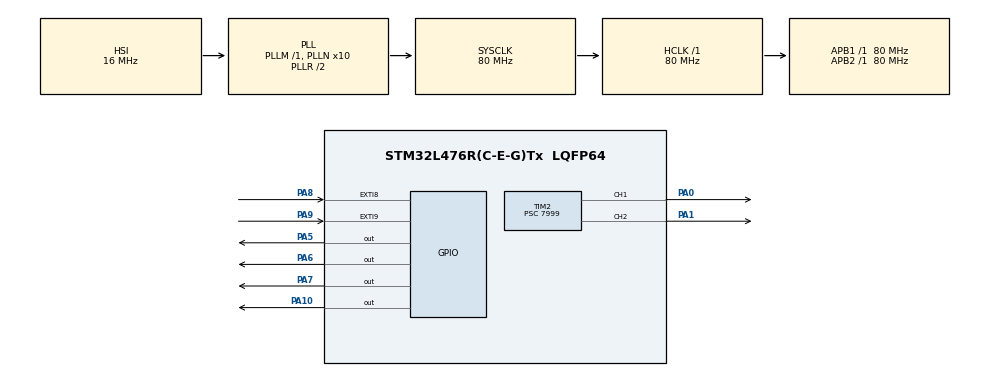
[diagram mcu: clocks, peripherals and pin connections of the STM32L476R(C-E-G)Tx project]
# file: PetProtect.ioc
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Mcu.Family=STM32L4
Mcu.Name=STM32L476R(C-E-G)Tx
Mcu.Package=LQFP64
NVIC.EXTI9_5_IRQn=true\:2\:0\:true\:false\:true\:true\:true\:true
NVIC.PriorityGroup=NVIC_PRIORITYGROUP_4
NVIC.TIM2_IRQn=true\:0\:0\:false\:false\:true\:true\:true\:true
PA0.Signal=S_TIM2_CH1
PA1.Signal=S_TIM2_CH2
PA10.Signal=GPIO_Output
PA13\ (JTMS-SWDIO).GPIO_Label=TMS
PA13\ (JTMS-SWDIO).Mode=Serial_Wire
PA13\ (JTMS-SWDIO).Signal=SYS_JTMS-SWDIO
PA14\ (JTCK-SWCLK).GPIO_Label=TCK
PA14\ (JTCK-SWCLK).Mode=Serial_Wire
PA14\ (JTCK-SWCLK).Signal=SYS_JTCK-SWCLK
PA5.Signal=GPIO_Output
PA6.Signal=GPIO_Output
PA7.Signal=GPIO_Output
PA8.GPIO_ModeDefaultEXTI=GPIO_MODE_IT_RISING_FALLING
PA8.Signal=GPXTI8
PA9.GPIO_ModeDefaultEXTI=GPIO_MODE_IT_FALLING
PA9.GPIO_PuPd=GPIO_PULLUP
PA9.Signal=GPXTI9
PB3\ (JTDO-TRACESWO).GPIO_Label=SWO
PB3\ (JTDO-TRACESWO).Signal=SYS_JTDO-SWO
PC14-OSC32_IN\ (PC14).Mode=LSE-External-Oscillator
PC14-OSC32_IN\ (PC14).Signal=RCC_OSC32_IN
PC15-OSC32_OUT\ (PC15).Mode=LSE-External-Oscillator
PC15-OSC32_OUT\ (PC15).Signal=RCC_OSC32_OUT
PH0-OSC_IN\ (PH0).Signal=RCC_OSC_IN
PH1-OSC_OUT\ (PH1).Signal=RCC_OSC_OUT
ProjectManager.HeapSize=0x200
ProjectManager.StackSize=0x400
ProjectManager.TargetToolchain=STM32CubeIDE
RCC.ADCFreq_Value=64000000
RCC.AHBFreq_Value=80000000
RCC.APB1Freq_Value=80000000
RCC.APB1TimFreq_Value=80000000
RCC.APB2Freq_Value=80000000
RCC.APB2TimFreq_Value=80000000
RCC.CortexFreq_Value=80000000
RCC.HCLKFreq_Value=80000000
RCC.HSE_VALUE=8000000
RCC.HSI_VALUE=16000000
RCC.MSI_VALUE=4000000
RCC.PLLN=10
RCC.PLLSourceVirtual=RCC_PLLSOURCE_HSI
RCC.PREFETCH_ENABLE=1
RCC.SYSCLKFreq_VALUE=80000000
RCC.SYSCLKSource=RCC_SYSCLKSOURCE_PLLCLK
RCC.USBFreq_Value=64000000
RCC.VCOOutputFreq_Value=160000000
SH.S_TIM2_CH1.0=TIM2_CH1,PWM Generation1 CH1
SH.S_TIM2_CH2.0=TIM2_CH2,PWM Generation2 CH2
TIM2.Channel-PWM\ Generation1\ CH1=TIM_CHANNEL_1
TIM2.Channel-PWM\ Generation2\ CH2=TIM_CHANNEL_2
TIM2.Period=199
TIM2.Prescaler=7999
VP_TIM2_VS_ClockSourceINT.Mode=Internal
board=NUCLEO-L476RG

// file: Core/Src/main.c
/* USER CODE BEGIN Header */
/**
  ******************************************************************************
  * @file           : main.c
  * @brief          : Main program body
  ******************************************************************************
  * @attention
  *
  * Copyright (c) 2024 STMicroelectronics.
  * All rights reserved.
  *
  * This software is licensed under terms that can be found in the LICENSE file
  * in the root directory of this software component.
  * If no LICENSE file comes with this software, it is provided AS-IS.
  *
  ******************************************************************************
  */
/* USER CODE END Header */
#include "main.h"

/* USER CODE BEGIN Includes */
#include "stdlib.h"
/* USER CODE END Includes */

/* USER CODE BEGIN PD */
#define SERVO_MIN 10
#define SERVO_MAX 20
#define SERVO_CENTER 15
#define PET_MODE 0
#define PROTECT_MODE 1

/* USER CODE END PD */

TIM_HandleTypeDef htim2;

/* USER CODE BEGIN PV */
GPIO_PinState pirState1;
volatile uint8_t system_mode = PET_MODE;
/* USER CODE END PV */

void SystemClock_Config(void);
static void MX_GPIO_Init(void);
static void MX_TIM2_Init(void);
/* USER CODE BEGIN PFP */
void ControlLaser(int state);
void ControlFlashlight(int state);
void SwitchMode(void);
void ControlBuzzer(int state);
void MoveServoToRandomPosition(void);
void MoveServoToPosition(uint16_t position);
void StartPWM(void);
/* USER CODE END PFP */

int main(void)
{

  /* MCU Configuration--------------------------------------------------------*/

  /* Reset of all peripherals, Initializes the Flash interface and the Systick. */
  HAL_Init();

  /* Configure the system clock */
  SystemClock_Config();

  /* Initialize all configured peripherals */
  MX_GPIO_Init();
  MX_TIM2_Init();
  /* USER CODE BEGIN 2 */
  StartPWM();

  //__HAL_TIM_SET_COMPARE(&htim2, TIM_CHANNEL_1, 10);

  htim2.Instance->CCR1 = 25;

  /* USER CODE END 2 */

  /* Infinite loop */
  /* USER CODE BEGIN WHILE */
  while (1)
  {

	    HAL_Delay(100); // Polling delay
    /* USER CODE END WHILE */

  }
}

void SystemClock_Config(void)
{
  RCC_OscInitTypeDef RCC_OscInitStruct = {0};
  RCC_ClkInitTypeDef RCC_ClkInitStruct = {0};

  /** Configure the main internal regulator output voltage
  */
  if (HAL_PWREx_ControlVoltageScaling(PWR_REGULATOR_VOLTAGE_SCALE1) != HAL_OK)
  {
    Error_Handler();
  }

  /** Initializes the RCC Oscillators according to the specified parameters
  * in the RCC_OscInitTypeDef structure.
  */
  RCC_OscInitStruct.OscillatorType = RCC_OSCILLATORTYPE_HSI;
  RCC_OscInitStruct.HSIState = RCC_HSI_ON;
  RCC_OscInitStruct.HSICalibrationValue = RCC_HSICALIBRATION_DEFAULT;
  RCC_OscInitStruct.PLL.PLLState = RCC_PLL_ON;
  RCC_OscInitStruct.PLL.PLLSource = RCC_PLLSOURCE_HSI;
  RCC_OscInitStruct.PLL.PLLM = 1;
  RCC_OscInitStruct.PLL.PLLN = 10;
  RCC_OscInitStruct.PLL.PLLP = RCC_PLLP_DIV7;
  RCC_OscInitStruct.PLL.PLLQ = RCC_PLLQ_DIV2;
  RCC_OscInitStruct.PLL.PLLR = RCC_PLLR_DIV2;
  if (HAL_RCC_OscConfig(&RCC_OscInitStruct) != HAL_OK)
  {
    Error_Handler();
  }

  /** Initializes the CPU, AHB and APB buses clocks
  */
  RCC_ClkInitStruct.ClockType = RCC_CLOCKTYPE_HCLK|RCC_CLOCKTYPE_SYSCLK
                              |RCC_CLOCKTYPE_PCLK1|RCC_CLOCKTYPE_PCLK2;
  RCC_ClkInitStruct.SYSCLKSource = RCC_SYSCLKSOURCE_PLLCLK;
  RCC_ClkInitStruct.AHBCLKDivider = RCC_SYSCLK_DIV1;
  RCC_ClkInitStruct.APB1CLKDivider = RCC_HCLK_DIV1;
  RCC_ClkInitStruct.APB2CLKDivider = RCC_HCLK_DIV1;

  if (HAL_RCC_ClockConfig(&RCC_ClkInitStruct, FLASH_LATENCY_4) != HAL_OK)
  {
    Error_Handler();
  }
}

static void MX_TIM2_Init(void)
{

  TIM_ClockConfigTypeDef sClockSourceConfig = {0};
  TIM_MasterConfigTypeDef sMasterConfig = {0};
  TIM_OC_InitTypeDef sConfigOC = {0};

  htim2.Instance = TIM2;
  htim2.Init.Prescaler = 7999;
  htim2.Init.CounterMode = TIM_COUNTERMODE_UP;
  htim2.Init.Period = 199;
  htim2.Init.ClockDivision = TIM_CLOCKDIVISION_DIV1;
  htim2.Init.AutoReloadPreload = TIM_AUTORELOAD_PRELOAD_DISABLE;
  if (HAL_TIM_Base_Init(&htim2) != HAL_OK)
  {
    Error_Handler();
  }
  sClockSourceConfig.ClockSource = TIM_CLOCKSOURCE_INTERNAL;
  if (HAL_TIM_ConfigClockSource(&htim2, &sClockSourceConfig) != HAL_OK)
  {
    Error_Handler();
  }
  if (HAL_TIM_PWM_Init(&htim2) != HAL_OK)
  {
    Error_Handler();
  }
  sMasterConfig.MasterOutputTrigger = TIM_TRGO_RESET;
  sMasterConfig.MasterSlaveMode = TIM_MASTERSLAVEMODE_DISABLE;
  if (HAL_TIMEx_MasterConfigSynchronization(&htim2, &sMasterConfig) != HAL_OK)
  {
    Error_Handler();
  }
  sConfigOC.OCMode = TIM_OCMODE_PWM1;
  sConfigOC.Pulse = 0;
  sConfigOC.OCPolarity = TIM_OCPOLARITY_HIGH;
  sConfigOC.OCFastMode = TIM_OCFAST_DISABLE;
  if (HAL_TIM_PWM_ConfigChannel(&htim2, &sConfigOC, TIM_CHANNEL_1) != HAL_OK)
  {
    Error_Handler();
  }
  if (HAL_TIM_PWM_ConfigChannel(&htim2, &sConfigOC, TIM_CHANNEL_2) != HAL_OK)
  {
    Error_Handler();
  }
  HAL_TIM_MspPostInit(&htim2);

}

static void MX_GPIO_Init(void)
{
  GPIO_InitTypeDef GPIO_InitStruct = {0};

  /* GPIO Ports Clock Enable */
  __HAL_RCC_GPIOC_CLK_ENABLE();
  __HAL_RCC_GPIOH_CLK_ENABLE();
  __HAL_RCC_GPIOA_CLK_ENABLE();
  __HAL_RCC_GPIOB_CLK_ENABLE();

  /*Configure GPIO pin Output Level */
  HAL_GPIO_WritePin(GPIOA, GPIO_PIN_5|GPIO_PIN_6|GPIO_PIN_7|GPIO_PIN_10, GPIO_PIN_RESET);

  /*Configure GPIO pins : PA5 PA6 PA7 PA10 */
  GPIO_InitStruct.Pin = GPIO_PIN_5|GPIO_PIN_6|GPIO_PIN_7|GPIO_PIN_10;
  GPIO_InitStruct.Mode = GPIO_MODE_OUTPUT_PP;
  GPIO_InitStruct.Pull = GPIO_NOPULL;
  GPIO_InitStruct.Speed = GPIO_SPEED_FREQ_LOW;
  HAL_GPIO_Init(GPIOA, &GPIO_InitStruct);

  /*Configure GPIO pin : PA8 */
  GPIO_InitStruct.Pin = GPIO_PIN_8;
  GPIO_InitStruct.Mode = GPIO_MODE_IT_RISING_FALLING;
  GPIO_InitStruct.Pull = GPIO_NOPULL;
  HAL_GPIO_Init(GPIOA, &GPIO_InitStruct);

  /*Configure GPIO pin : PA9 */
  GPIO_InitStruct.Pin = GPIO_PIN_9;
  GPIO_InitStruct.Mode = GPIO_MODE_IT_FALLING;
  GPIO_InitStruct.Pull = GPIO_PULLUP;
  HAL_GPIO_Init(GPIOA, &GPIO_InitStruct);

  /* EXTI interrupt init*/
  HAL_NVIC_SetPriority(EXTI9_5_IRQn, 2, 0);
  HAL_NVIC_EnableIRQ(EXTI9_5_IRQn);

}

/* USER CODE BEGIN 4 */
void ControlLaser(int state)
{
  if (state == 1)
  {
    HAL_GPIO_WritePin(GPIOA, GPIO_PIN_6, GPIO_PIN_SET);
  }
  else
  {
    HAL_GPIO_WritePin(GPIOA, GPIO_PIN_6, GPIO_PIN_RESET);
  }
}

void ControlFlashlight(int state)
{
  if (state == 1)
  {
    HAL_GPIO_WritePin(GPIOA, GPIO_PIN_7, GPIO_PIN_SET);
    ControlBuzzer(1);
  }
  else
  {
    HAL_GPIO_WritePin(GPIOA, GPIO_PIN_7, GPIO_PIN_RESET);
    ControlBuzzer(0);
  }
}

void ControlBuzzer(int state)
{
	if (state == 1)
	{
		HAL_GPIO_WritePin(GPIOA, GPIO_PIN_10, GPIO_PIN_SET);
	}
	else
	{
		HAL_GPIO_WritePin(GPIOA, GPIO_PIN_10, GPIO_PIN_RESET);
	}
}

void MoveServoToRandomPosition(void)
{
  uint16_t position1 = (rand() % (SERVO_MAX - SERVO_MIN + 1)) + SERVO_MIN;
  uint16_t position2 = (rand() % (SERVO_MAX - SERVO_MIN + 1)) + SERVO_MIN;
  __HAL_TIM_SET_COMPARE(&htim2, TIM_CHANNEL_1, position1);
  __HAL_TIM_SET_COMPARE(&htim2, TIM_CHANNEL_2, position2);
}

void MoveServoToPosition(uint16_t position)
{
	if (position < SERVO_MIN || position > SERVO_MAX) return;
	  __HAL_TIM_SET_COMPARE(&htim2, TIM_CHANNEL_1, position);
	  __HAL_TIM_SET_COMPARE(&htim2, TIM_CHANNEL_2, position);
}

void StartPWM(void)
{
  HAL_TIM_PWM_Start(&htim2, TIM_CHANNEL_1);
  HAL_TIM_PWM_Start(&htim2, TIM_CHANNEL_2);
}

void HAL_GPIO_EXTI_Callback(uint16_t GPIO_Pin)
{
  if (GPIO_Pin == GPIO_PIN_9) // Assuming the external button is connected to PA9
  {
    system_mode = !system_mode; // Toggle mode
    HAL_GPIO_TogglePin(GPIOA, GPIO_PIN_5); // Optional visual feedback
    HAL_Delay(200); // Debounce delay
    HAL_GPIO_TogglePin(GPIOA, GPIO_PIN_5);
  }
  else if (GPIO_Pin == GPIO_PIN_8) // PIR sensor connected to PA8
  {
    pirState1 = HAL_GPIO_ReadPin(GPIOA, GPIO_PIN_8);

    if (pirState1 == GPIO_PIN_SET)
    {
      if (system_mode == PET_MODE)
      {
        ControlLaser(1);
        for (int i = 0; i < 10; i++) // Example random movement routine
        {
          MoveServoToRandomPosition();
          HAL_Delay(1000); // 1 second between movements
        }
        ControlLaser(0);
      }
      else
      {
        ControlFlashlight(1);
        MoveServoToPosition(SERVO_CENTER);
        HAL_Delay(10000); // Keep flashlight on for 10 seconds
        ControlFlashlight(0);
      }
    }
    else
    {
      ControlLaser(0);
      ControlFlashlight(0);
    }
  }
}
/* USER CODE END 4 */

void Error_Handler(void)
{
  __disable_irq();
  while (1)
  {
  }
}
